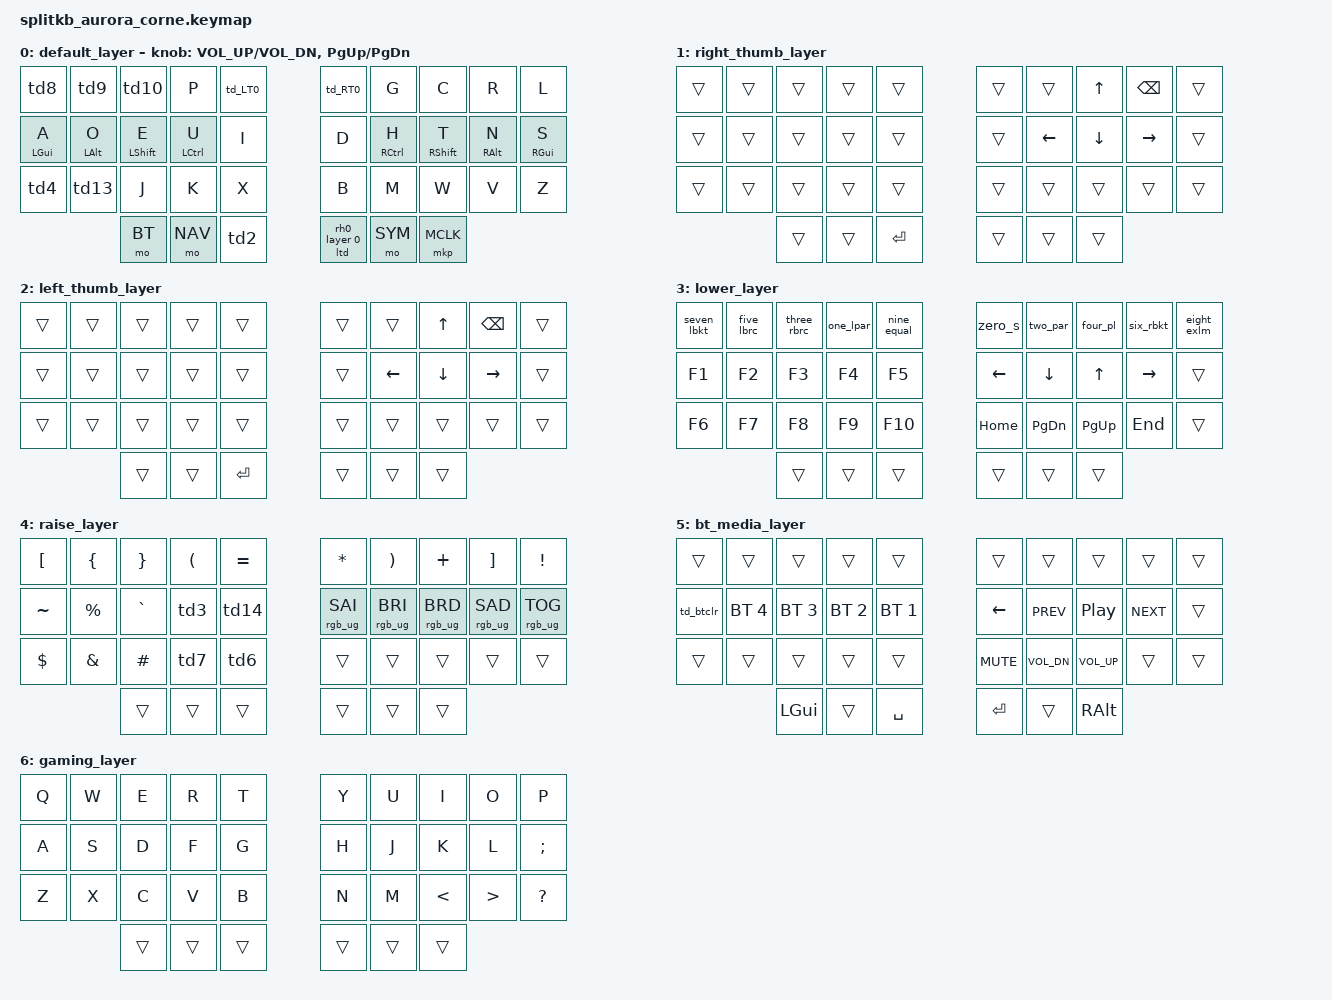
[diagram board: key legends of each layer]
/*
 * Copyright (c) 2020 The ZMK Contributors
 *
 * SPDX-License-Identifier: MIT
 */

#include <behaviors.dtsi>
#include <dt-bindings/zmk/keys.h>
#include <dt-bindings/zmk/bt.h>
#include <dt-bindings/zmk/pointing.h>
#include <dt-bindings/zmk/rgb.h>

#include "include/key-index.h"

#define BASE 0
#define rh0_layer 1
#define lh0_layer 2
#define NAV  3
#define SYM  4
#define BT   5
#define GAME 6

// TAP_DANCE settings
#define TAP_SPEED 200

// MACROS to make the the code easier to read
// include name or reference in keymap
// Format:
//      name        reference  key1 key2
#define TD_TAB      &td0    // TAB ESC
#define TD_CAPLOCK  &td1    // LSHIFT CAPSLOCK
#define TD_SPC      &td2    // SPACE ENTER
#define TD_SLSH     &td3    // SLASH QMARK
#define TD_QUOTE    &td4    // QUOTE DOUBLE_QUOTES
#define TD_EQL      &td5    // EQUAL PLUS
#define TD_BSLS     &td6    // BACKSLASH PIPE
#define TD_MINUS    &td7    // MINUS UNDERSCORE
#define TD_SCLN     &td8    // SEMICOLON COLON
#define TD_COMM     &td9    // COMMA LESS_THAN
#define TD_DOT      &td10   // PERIOD GREATER_THAN
#define TD_BACKF    &td11   // GRAVE TILDE
#define TD_ALT      &td12   // LALT GUI
#define TD_ARR      &td13   // Q AT (@)
#define TD_ATCAT    &td14   // AT CARET
#define TD_TAW      &td15   // TAB LWIN
#define TD_SCLOCK   &td16   // (S)LSHIFT CAPSLOCK (Sticky shift)

#define ___	&trans

// include &name in keymap to use
// FORMAT
//   natural --> (on shift)
//   number --> symbols | number code --> symbol code
// one_lpar    1 --> (  | N1 --> LPAR
// two_par     2 --> )  | N2 --> RPAR
// three_rbrc  3 --> }  | N3 --> RBRC
// four_pl     4 --> ]  | N4 --> PLUS
// five_lbrc   5 --> {  | N5 --> RSFT
// six_rbkt    6 --> ]  | N6 --> RBKT
// seven_lbkt  7 --> [  | N7 --> LBKT
// eight_exlm  8 --> !  | N8 --> EXCL
// nine_equal  9 --> =  | N9 --> EQUAL
// zero_s      0 --> *  | N0 --> STAR

/*
// Sticky key config if desired
&sk {
    //release-after-ms = <2000>;
    quick-release;
};

*/

&led_strip {
    chain-length = <18>;
};

/ {
  chosen {
    zmk,matrix_transform = &five_column_transform;
  };
};

/ {


    behaviors {
        hml: home_row_mod_left {
            compatible = "zmk,behavior-hold-tap";
            #binding-cells = <2>;
            flavor = "balanced";
            require-prior-idle-ms = <150>;
            tapping-term-ms = <280>;
            quick-tap-ms = <175>;
            bindings = <&kp>, <&kp>;
            hold-trigger-key-positions = <RIGHT_KEYS THUMB_KEYS>; // List of keys on the right side of the keyboard
           hold-trigger-on-release;
        };
        hmr: home_row_mod_right {
            compatible = "zmk,behavior-hold-tap";
            #binding-cells = <2>;
            flavor = "balanced";
            require-prior-idle-ms = <150>;
            tapping-term-ms = <280>;
            quick-tap-ms = <175>;
            bindings = <&kp>, <&kp>;
            hold-trigger-key-positions = <LEFT_KEYS THUMB_KEYS>; // List of keys on the left side of the keyboard
            hold-trigger-on-release;
        };
	td_RT0: tap_dance_RT0 {
	    compatible = "zmk,behavior-tap-dance";
	    label = "TAP_DANCE_RT0";
	    #binding-cells = <0>;
            tapping-term-ms = <TAP_SPEED>;
            bindings = <&kp F>, <&kp F>,
	    	       <&kp F>, <&kp F>,
		       <&bootloader>;
            };
        td_LT0: tap_dance_LT0 {
            compatible = "zmk,behavior-tap-dance";
            label = "TAP_DANCE_LT0";
            #binding-cells = <0>;
            tapping-term-ms = <TAP_SPEED>;
            bindings = <&kp Y>, <&kp Y>,
                       <&kp Y>, <&kp Y>,
		       <&bootloader>;
            };
	td_btclr: tap_dance_btclear {
	  compatible = "zmk,behavior-tap-dance";
	  label = "TAP_DANCE_BTCLEAR";
	  #binding-cells = <0>;
	  tapping-term-ms = <TAP_SPEED>;
	  bindings = <&none>, <&none>,
	             <&none>, <&none>,
		     <&bt BT_CLR>;
	  };
        ltd: layer_tap_dance {
            compatible = "zmk,behavior-hold-tap";
            #binding-cells = <2>;
            tapping-term-ms = <200>;
            flavor = "tap-preferred";
            bindings = <&mo>, <TD_SPC>;
        };
        td0: tap_dance_0 {
            compatible = "zmk,behavior-tap-dance";
            label = "TAP_DANCE_0";
            #binding-cells = <0>;
            tapping-term-ms = <TAP_SPEED>;
            bindings = <&kp TAB>, <&kp ESC>;
            };
        td1: tap_dance_1 {
            compatible = "zmk,behavior-tap-dance";
            label = "TAP_DANCE_1";
            #binding-cells = <0>;
            tapping-term-ms = <TAP_SPEED>;
            bindings = <&kp LSHIFT>, <&kp CAPSLOCK>;
            };
        td2: tap_dance_2 {
            compatible = "zmk,behavior-tap-dance";
            label = "TAP_DANCE_2";
            #binding-cells = <0>;
            tapping-term-ms = <TAP_SPEED>;
            bindings = <&kp SPACE>, <&kp ENTER>;
            };
        td3: tap_dance_3 {
            compatible = "zmk,behavior-tap-dance";
            label = "TAP_DANCE_3";
            #binding-cells = <0>;
            tapping-term-ms = <TAP_SPEED>;
            bindings = <&kp SLASH>, <&kp QMARK>;
            };
        td4: tap_dance_4 {
            compatible = "zmk,behavior-tap-dance";
            label = "TAP_DANCE_4";
            #binding-cells = <0>;
            tapping-term-ms = <TAP_SPEED>;
            bindings = <&kp SINGLE_QUOTE>, <&kp DOUBLE_QUOTES>;
            };
        td5: tap_dance_5 {
            compatible = "zmk,behavior-tap-dance";
            label = "TAP_DANCE_5";
            #binding-cells = <0>;
            tapping-term-ms = <TAP_SPEED>;
            bindings = <&kp EQUAL>, <&kp PLUS>;
            };
        td6: tap_dance_6 {
            compatible = "zmk,behavior-tap-dance";
            label = "TAP_DANCE_6";
            #binding-cells = <0>;
            tapping-term-ms = <TAP_SPEED>;
            bindings = <&kp BACKSLASH>, <&kp PIPE>;
            };
        td7: tap_dance_7 {
            compatible = "zmk,behavior-tap-dance";
            label = "TAP_DANCE_7";
            #binding-cells = <0>;
            tapping-term-ms = <TAP_SPEED>;
            bindings = <&kp MINUS>, <&kp UNDERSCORE>;
            };
        td8: tap_dance_8 {
            compatible = "zmk,behavior-tap-dance";
            label = "TAP_DANCE_8";
            #binding-cells = <0>;
            tapping-term-ms = <TAP_SPEED>;
            bindings = <&kp SEMICOLON>, <&kp COLON>;
            };
        td9: tap_dance_9 {
            compatible = "zmk,behavior-tap-dance";
            label = "TAP_DANCE_9";
            #binding-cells = <0>;
            tapping-term-ms = <TAP_SPEED>;
            bindings = <&kp COMMA>, <&kp LESS_THAN>;
            };
        td10: tap_dance_10 {
            compatible = "zmk,behavior-tap-dance";
            label = "TAP_DANCE_10";
            #binding-cells = <0>;
            tapping-term-ms = <TAP_SPEED>;
            bindings = <&kp PERIOD>, <&kp GREATER_THAN>;
            };
        td11: tap_dance_11 {
            compatible = "zmk,behavior-tap-dance";
            label = "TAP_DANCE_11";
            #binding-cells = <0>;
            tapping-term-ms = <TAP_SPEED>;
            bindings = <&kp GRAVE>, <&kp TILDE>;
            };
        td12: tap_dance_12 {
            compatible = "zmk,behavior-tap-dance";
            label = "TAP_DANCE_12";
            #binding-cells = <0>;
            tapping-term-ms = <TAP_SPEED>;
            bindings = <&kp LALT>, <&kp GUI>;
            };
        td13: tap_dance_13 {
            compatible = "zmk,behavior-tap-dance";
            label = "TAP_DANCE_13";
            #binding-cells = <0>;
            tapping-term-ms = <TAP_SPEED>;
            bindings = <&kp Q>, <&kp AT>;
            };
        td14: tap_dance_14 {
            compatible = "zmk,behavior-tap-dance";
            label = "TAP_DANCE_14";
            #binding-cells = <0>;
            tapping-term-ms = <TAP_SPEED>;
            bindings = <&kp AT>, <&kp CARET>;
            };
        td15: tap_dance_15 {
            compatible = "zmk,behavior-tap-dance";
            label = "TAP_DANCE_15";
            #binding-cells = <0>;
            tapping-term-ms = <TAP_SPEED>;
            bindings = <&kp TAB>, <&kp LWIN>;
            };
        td16: tap_dance_16 {
            compatible = "zmk,behavior-tap-dance";
            label = "TAP_DANCE_16";
            #binding-cells = <0>;
            tapping-term-ms = <TAP_SPEED>;
            bindings = <&sk LSHIFT>, <&kp CAPSLOCK>;
            };

        // create the shifts of dvorak
        seven_lbkt: seven_lbkt {
                compatible = "zmk,behavior-mod-morph";
                label="SEVEN_LBKT";
                #binding-cells = <0>;
                bindings = <&kp N7>, <&kp LBKT>;
                mods=<(MOD_LSFT|MOD_RSFT)>;
            };
        five_lbrc: five_lbrc {
                compatible = "zmk,behavior-mod-morph";
                label="FIVE_LBRC";
                #binding-cells = <0>;
                bindings = <&kp N5>,<&kp LBRC>;
                mods=<(MOD_LSFT|MOD_RSFT)>;
        };
        three_rbrc: three_rbrc {
                compatible = "zmk,behavior-mod-morph";
                label="THREE_RBRC";
                #binding-cells = <0>;
                bindings = <&kp N3>,<&kp RBRC>;
                mods=<(MOD_LSFT|MOD_RSFT)>;
        };
        one_lpar: one_lpar {
                compatible = "zmk,behavior-mod-morph";
                label="ONE_LPAR";
                #binding-cells = <0>;
                bindings = <&kp N1>,<&kp LPAR>;
                mods=<(MOD_LSFT|MOD_RSFT)>;
        };
        nine_equal: nine_equal {
                compatible = "zmk,behavior-mod-morph";
                label="nine_equal";
                #binding-cells = <0>;
                bindings = <&kp N9>,    <&kp EQUAL>;
                mods=<(MOD_LSFT|MOD_RSFT)>;
        };
        zero_s: zero_star {
                compatible = "zmk,behavior-mod-morph";
                label="ZERO_STAR";
                #binding-cells = <0>;
                bindings = <&kp N0>, <&kp STAR>;
                mods=<(MOD_LSFT|MOD_RSFT)>;
            };
        two_par: two_paren {
                compatible = "zmk,behavior-mod-morph";
                label="TWO_PAR";
                #binding-cells = <0>;
                bindings = <&kp N2>,<&kp RPAR>;
                mods=<(MOD_LSFT|MOD_RSFT)>;
        };
        four_pl: four_plus {
                compatible = "zmk,behavior-mod-morph";
                label="FOUR_PLUS";
                #binding-cells = <0>;
                bindings = <&kp N4>,<&kp PLUS>;
                mods=<(MOD_LSFT|MOD_RSFT)>;
        };
        six_rbkt: six_rbkt {
                compatible = "zmk,behavior-mod-morph";
                label="six_rbkt";
                #binding-cells = <0>;
                bindings = <&kp N6>,<&kp RBKT>;
                mods=<(MOD_LSFT|MOD_RSFT)>;
        };
        eight_exlm: eight_exlm {
                compatible = "zmk,behavior-mod-morph";
                label="EIGHT_EXLM";
                #binding-cells = <0>;
                bindings = <&kp N8>,    <&kp EXCL>;
                mods=<(MOD_LSFT|MOD_RSFT)>;
        };
    };

    combos {
        compatible = "zmk,combos";
        combo_backspace {
            key-positions = <RH0 RT3>;
            bindings = <&kp BKSP>;
        };
        combo_bootloader {
            key-positions = <LB4 LT4 LT2 LT0 LH0>;
            bindings = <&bootloader>;
        };
        combo_control_l {
            key-positions = <LH0 LB4>;
            bindings = <&kp LCTRL>;
        };
        combo_control_r {
            key-positions = <RH0 RB4>;
            bindings = <&kp RCTRL>;
        };
        combo_esc {
            key-positions = <LH0 LT3>;
            bindings = <&kp ESC>;
        };
        combo_shift_l {
            key-positions = <LH0 LT4>;
            bindings = <&kp LSHIFT>;
        };
        combo_shift_r {
            key-positions = <RH0 RT4>;
            bindings = <&kp RSHIFT>;
        };
        combo_space {
            key-positions = <LH0 RH0>;
            bindings = <&kp ENTER>;
        };
        combo_tab {
            key-positions = <LH0 LM4>;
            bindings = <&kp TAB>;
        };
        combo_gaming_layer_toggle {
            key-positions = <LH0 LH2 LT4>;
            bindings = <&tog GAME>;
        };
    	combo_studio_unlock {
    	    layers = <3>;
    	    key-positions = <RB4 RB1 LB1>;
    	    bindings = <&studio_unlock>;
    	};
    };

    // LAYERS
    /* conditional_layers {
        compatible = "zmk,conditional-layers";
        tri_layer {
            if-layers = <1 2>;
            then-layer = <3>;
        };
    }; */
        keymap {
                compatible = "zmk,keymap";

                default_layer {
// -----------------------------------------------------------------------------------------
// | TAB:ESC  | ; : | , < | . > |  P  |  Y  |         | F   |  G   |  C  |  R  |  L  | BKSP |
// | CTRL     |  A  |  O  |  E  |  U  |  I  |         |  D  |  H   |  T  |  N  |  S  | DEL  |
// | LSFT:CAP |' "  | q @ | J   | K   |  X  |         |  B  |  M   |  W  |  V  |  Z  | TAB  |
//                        | GUI | LWR | SPC |         | ENT | RSE  | ALT |
                        bindings = <
   TD_SCLN  TD_COMM TD_DOT &kp P &td_LT0                 &td_RT0 &kp G  &kp C     &kp R   &kp L

   &hml LGUI A &hml LALT O &hml LSHIFT E &hml LCTRL U &kp I
   &kp D &hmr RCTRL H &hmr RSHIFT T &hmr RALT N &hmr RGUI S

   TD_QUOTE TD_ARR  &kp J  &kp K &kp X   &kp B &kp M  &kp W  &kp V  &kp Z
                 &mo BT &mo NAV TD_SPC   &ltd rh0_layer 0 &mo SYM &mkp MCLK
                        >;
		  sensor-bindings = <&inc_dec_kp C_VOL_UP C_VOL_DN &inc_dec_kp PG_UP PG_DN>;
                };

		right_thumb_layer {
		  bindings = <
// ╭─────────────────────────────────────────────────╮   ╭─────────────────────────────────────────────────╮
// │         │         │         │         │         │   │         │         │         │         │         │
       ___       ___       ___       ___       ___           ___       ___      &kp UP   &kp BKSP    ___
// ├─────────┼─────────┼─────────┼─────────┼─────────┤   ├─────────┼─────────┼─────────┼─────────┼─────────┤
// │         │         │         │         │         │   │         │         │         │         │         │
       ___        ___      ___       ___       ___           ___     &kp LEFT  &kp DOWN &kp RIGHT    ___
// ├─────────┼─────────┼─────────┼─────────┼─────────┤   ├─────────┼─────────┼─────────┼─────────┼─────────┤
// │         │         │         │         │         │   │         │         │         │         │         │
       ___       ___       ___       ___       ___           ___       ___       ___       ___       ___
// ╰─────────┼─────────┼─────────┼─────────┼─────────┤   ├─────────┼─────────┼─────────┼─────────┼─────────╯
                           ___       ___     &kp RET         ___       ___       ___
//                     ╰─────────────────────────────╯   ╰─────────────────────────────╯
		  >;
		};

        left_thumb_layer {
		  bindings = <
// ╭─────────────────────────────────────────────────╮   ╭─────────────────────────────────────────────────╮
// │         │         │         │         │         │   │         │         │         │         │         │
       ___       ___       ___       ___       ___           ___       ___      &kp UP   &kp BKSP    ___
// ├─────────┼─────────┼─────────┼─────────┼─────────┤   ├─────────┼─────────┼─────────┼─────────┼─────────┤
// │         │         │         │         │         │   │         │         │         │         │         │
       ___        ___      ___       ___       ___           ___     &kp LEFT  &kp DOWN &kp RIGHT    ___
// ├─────────┼─────────┼─────────┼─────────┼─────────┤   ├─────────┼─────────┼─────────┼─────────┼─────────┤
// │         │         │         │         │         │   │         │         │         │         │         │
       ___       ___       ___       ___       ___           ___       ___       ___       ___       ___
// ╰─────────┼─────────┼─────────┼─────────┼─────────┤   ├─────────┼─────────┼─────────┼─────────┼─────────╯
                           ___       ___     &kp RET         ___       ___       ___
//                     ╰─────────────────────────────╯   ╰─────────────────────────────╯
		  >;
		};

		lower_layer {
// -----------------------------------------------------------------------------------------
// | ESC    |  7   |  5  |  3  |  1  |  9  |            |  0  |  2  |  4  |  6  |  8  |      |
// | F11    |  F1  |  F2 |  F3 |  F4 |  F5 |            | LFT | DWN |  UP | RGT |     |      |
// | SHFT   |  F6  |  F7 |  F8 |  F9 |  F10|            |HOME | PGDN| PGUP| END |     |      |
//                       |     |     |     |            |     |     |     |
            bindings = <
   &seven_lbkt   &five_lbrc  &three_rbrc &one_lpar   &nine_equal          &zero_s    &two_par    &four_pl    &six_rbkt   &eight_exlm
   &kp F1        &kp F2      &kp F3      &kp F4      &kp F5               &kp LEFT   &kp DOWN    &kp UP      &kp RIGHT   &trans
   &kp F6        &kp F7      &kp F8      &kp F9      &kp F10              &kp HOME   &kp PG_DN   &kp PG_UP   &kp END     &trans
                          	 &trans      &trans      &trans               &trans     &trans      &trans
            >;
        };

                raise_layer {
// -----------------------------------------------------------------------------------------
// | ESC  |  [  |  {  |  }  |  (  |  =  |       |  *  |  )  |  +  |  ]  |  !  | DEL  |
// | CTRL |  ~  |  %  |  `  | / ? | @ ^ |       |     |     |     |     |     |      |
// | SHFT |  $  |  &  |  #  | - _ | \ | |       |     |     |     |     |     |      |
//                    | GUI |     | SPC |       | ENT |     | ALT |
                        bindings = <
   &kp LBKT    &kp LBRC     &kp RBRC     &kp LPAR    &kp EQUAL       &kp STAR        &kp RPAR        &kp PLUS        &kp RBKT        &kp EXCL
   &kp TILDE   &kp PRCNT    &kp GRAVE    TD_SLSH     TD_ATCAT        &rgb_ug RGB_SAI &rgb_ug RGB_BRI &rgb_ug RGB_BRD &rgb_ug RGB_SAD &rgb_ug RGB_TOG
   &kp DLLR    &kp AMPS     &kp HASH     TD_MINUS    TD_BSLS         &trans          &trans          &trans          &trans          &trans
                    	    &trans       &trans      &trans          &trans          &trans          &trans
                        >;
                };

 // bt_media_layer: BT functions and media controls
                bt_media_layer {
// -----------------------------------------------------------------------------------------
// |  ESC |     |     |     |     |     |   |         |     |         |     |   |      |
// | BTCLR| BT1 | BT2 | BT3 | BT4 | BT5 |   | LFT     | PRV |  Play/P | NXT |   |      |
// | SHFT |     |     |     |     |     |   | MUTE    | VOL-| VOL+|   |     |   |      |
//                    | GUI |     | SPC |   | ENT     |     | ALT |
                        bindings = <
   &trans       &trans       &trans       &trans       &trans                &trans          &trans         &trans       &trans     &trans
   &td_btclr &bt BT_SEL 4 &bt BT_SEL 3 &bt BT_SEL 2 &bt BT_SEL 1          &kp LEFT        &kp C_PREV     &kp C_PP     &kp C_NEXT &trans
   &trans       &trans       &trans       &trans       &trans                &kp C_MUTE      &kp C_VOL_DN   &kp C_VOL_UP &trans     &trans
                          	 &kp LGUI     &trans       &kp SPACE             &kp RET         &trans         &kp RALT
                        >;
                };

    gaming_layer {
      bindings = <
// ╭─────────────────────────────────────────────────╮   ╭─────────────────────────────────────────────────╮
// │         │         │         │         │         │   │         │         │         │         │         │
      &kp Q     &kp W     &kp E     &kp R     &kp T         &kp Y     &kp U     &kp I     &kp O     &kp P
// ├─────────┼─────────┼─────────┼─────────┼─────────┤   ├─────────┼─────────┼─────────┼─────────┼─────────┤
// │         │         │         │         │         │   │         │         │         │         │         │
      &kp A     &kp S     &kp D     &kp F     &kp G         &kp H     &kp J     &kp K     &kp L    &kp SEMI
// ├─────────┼─────────┼─────────┼─────────┼─────────┤   ├─────────┼─────────┼─────────┼─────────┼─────────┤
// │         │         │         │         │         │   │         │         │         │         │         │
      &kp Z     &kp X     &kp C     &kp V     &kp B         &kp N     &kp M     &kp LT    &kp GT  &kp QMARK
// ╰─────────┼─────────┼─────────┼─────────┼─────────┤   ├─────────┼─────────┼─────────┼─────────┼─────────╯
                           ___       ___       ___           ___       ___       ___
//                     ╰─────────────────────────────╯   ╰─────────────────────────────╯
      >;
    };
  };
};
